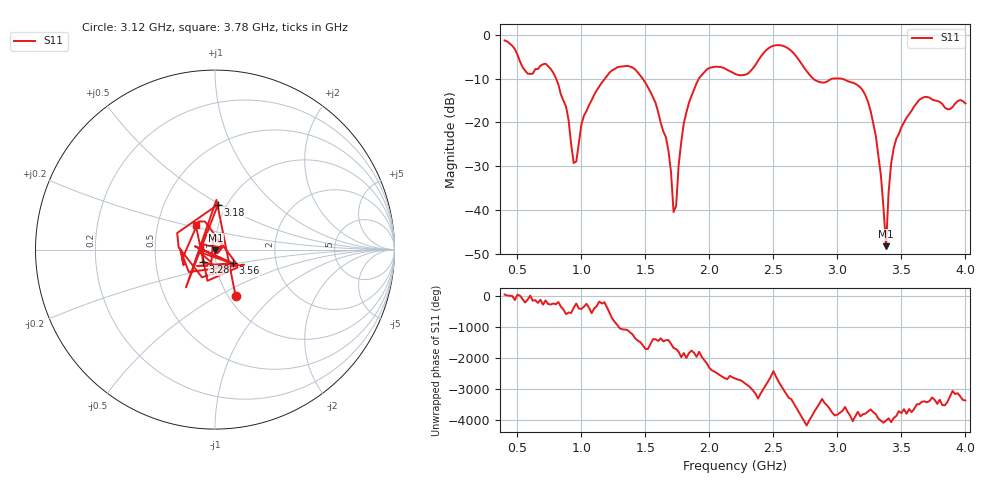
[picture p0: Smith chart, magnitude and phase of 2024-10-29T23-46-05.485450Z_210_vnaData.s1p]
!Created with skrf (http://scikit-rf.org).
# Hz S RI R 50.0
!freq ReS11 ImS11
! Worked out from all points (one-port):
!   181 points, 400 MHz to 4 GHz, reference 50 ohm
!   lowest |S11| = -48.3 dB at 3.38 GHz (marker M1), VSWR 1.01, Z = 50.2 - j0.298 ohm
!   |S11| at or under -10 dB: 802.6 MHz to 1.183 GHz (380.9 MHz wide, 38.4 % of centre); 1.48 GHz to 1.918 GHz (437.9 MHz wide, 25.8 % of centre); 3.032 GHz to end of sweep (the widest 3 of 4)
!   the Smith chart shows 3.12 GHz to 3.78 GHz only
!   S11 on the Smith chart (normalised r, x): 3.12 GHz: 1.08, -0.61; 3.18 GHz: 0.91, +0.49; 3.28 GHz: 0.86, -0.12; 3.56 GHz: 1.20, -0.18; 3.78 GHz: 0.78, +0.22
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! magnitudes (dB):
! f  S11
! 400 MHz  -1.3
! 580 MHz  -8.8
! 740 MHz  -7.1
! 860 MHz  -15.0
! 940 MHz  -29.3
! 1.02 GHz  -18.4
! 1.3 GHz  -7.3
! 1.58 GHz  -15.6
! 1.68 GHz  -26.4
! 1.72 GHz  -40.5
! 1.74 GHz  -39.1
! 1.76 GHz  -29.7
! 1.8 GHz  -20.2
! 1.92 GHz  -9.9
! 2.2 GHz  -8.9
! 2.66 GHz  -4.2
! 2.84 GHz  -10.5
! 3.1 GHz  -10.8
! 3.12 GHz  -10.9
! 3.18 GHz  -12.0
! 3.28 GHz  -20.2
! 3.34 GHz  -32.1
! 3.38 GHz  -48.3
! 3.4 GHz  -36.0
! 3.44 GHz  -25.9
! 3.56 GHz  -18.1
! 3.78 GHz  -15.1
! 4 GHz  -15.7
